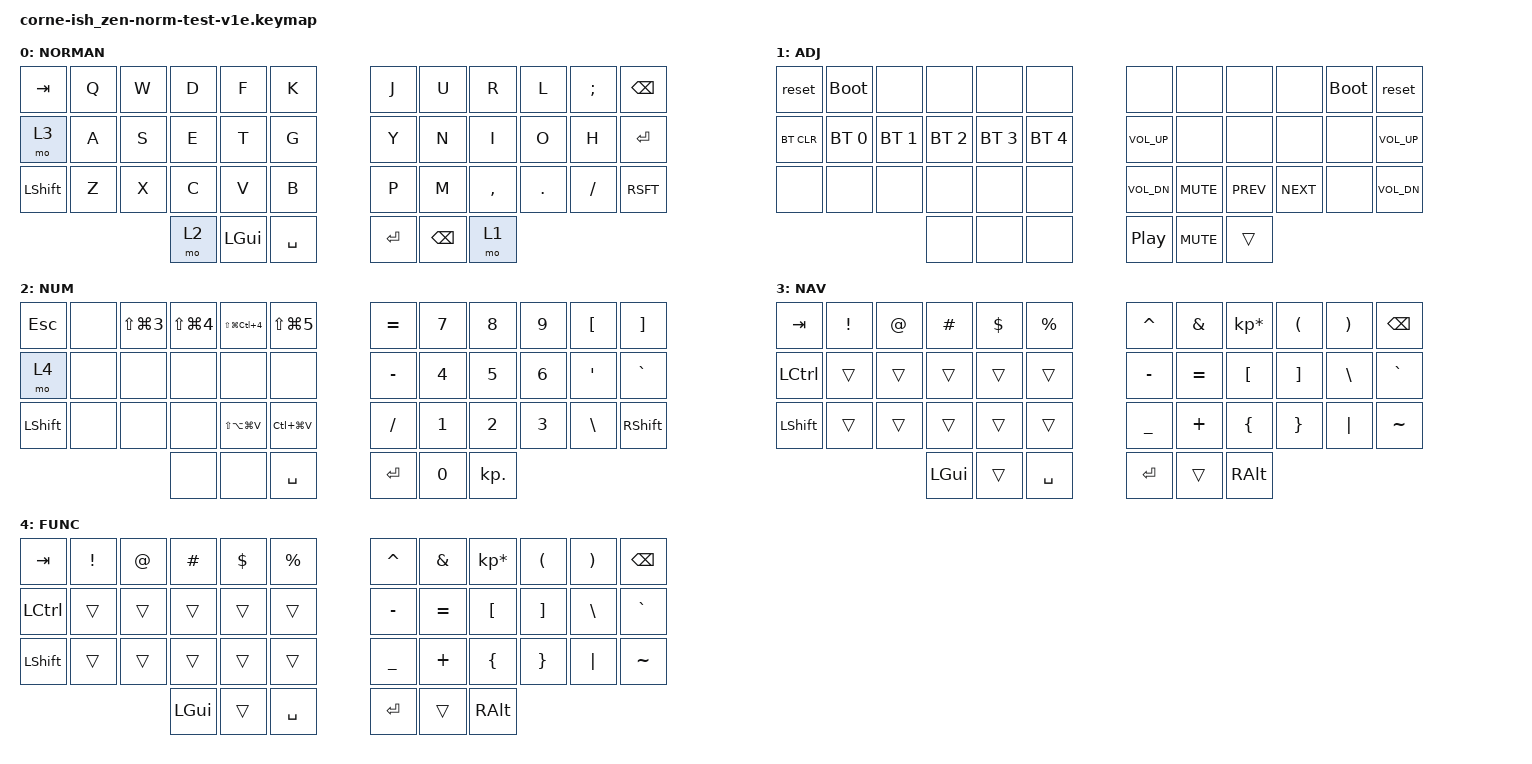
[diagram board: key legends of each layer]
/*
*
* Copyright (c) 2021 Darryl deHaan
* SPDX-License-Identifier: MIT
*
*/

#include <behaviors.dtsi>
#include <dt-bindings/zmk/keys.h>
#include <dt-bindings/zmk/bt.h>

&mt {
     tapping-term-ms = <400>;
 };
 
/ {
        keymap {
                compatible = "zmk,keymap";

                default_layer {
                        label = "NORMAN";
// -----------------------------------------------------------------------------------------
// |  TAB |  Q  |  W  |  D  |  F  |  K  |   |  J  |  U   |  R  |  L  |  ;  | BSPC |
// | MO-3 |  A  |  S  |  E  |  T  |  G  |   |  Y  |  N   |  I  |  O  |  H  |ENTER |
// | SHFT |  Z  |  X  |  C  |  V  |  B  |   |  P  |  M   |  ,  |  .  |  /  | RSFT |
//                    | GUI | LWR | SPC |   | ENT | BSPC | MO-1 |
                        bindings = <
   &kp TAB   &kp Q &kp W &kp D &kp F &kp K    &kp J &kp U &kp R    &kp L   &kp SEMI    &kp BSPC
   &mo 3     &kp A &kp S &kp E &kp T &kp G    &kp Y &kp N &kp I    &kp O   &kp H    &kp ENTER
   &kp LSHFT &kp Z &kp X &kp C &kp V &kp B    &kp P &kp M &kp CMMA &kp DOT &kp FSLH &kp RSFT
                   &mo 2 &kp LGUI &kp SPACE   &kp ENTER &kp BSPC &mo 1
                        >;
                };
                adj_layer {
                        label = "ADJ";
// -----------------------------------------------------------------------------------------
// | RESET|boot |     |     |     |     |   |     |     |     |     |     |boot |RESET
// | BTCLR| BT1 | BT2 | BT3 | BT4 | BT5 |   | Vol+|     |     |     |     |      |Vol+
// |      |     |     |     |     |     |   | Vol-| MUTE| PREV| NEXT|     |      |Vol-
//                    |     |     |     |   | Play| MUTE|     |
                        bindings = <
   &reset     &bootloader  &none        &none        &none        &none         &none        &none      &none      &none      &bootloader &reset
   &bt BT_CLR &bt BT_SEL 0 &bt BT_SEL 1 &bt BT_SEL 2 &bt BT_SEL 3 &bt BT_SEL 4  &kp C_VOL_UP &none      &none      &none      &none &kp C_VOL_UP
   &none      &none        &none        &none        &none        &none         &kp C_VOL_DN &kp K_MUTE &kp C_PREV &kp C_NEXT &none &kp C_VOL_DN
                          	        	&none     	 &none        &none      	&kp C_PP     &kp K_MUTE &trans
                        >;
                };

                num_layer {
                        label = "NUM";
// -----------------------------------------------------------------------------------------
// |  ESC |     |SG-3 |SG-4 |SGC4 |SG-5 |   |  =  |  7  |  8  |  9  |  [  | ]    |
// |MO-4  |     |     |     |     |     |   |  -  |  4  |  5  |  6  |  '  |  `   |
// | SHFT |     |     |     |SAG-V| CG-V|   |  /  |  1  |  2  |  3  |  \  |  SHFT|
//                    |     |     | SPC |   | ENT |  0  |  .   |
                        bindings = <
   &kp ESC   &none  &kp LS(LG(N3)) &kp LS(LG(N4)) &kp LS(LG(LC(N4))) &kp LS(LG(N5))     &kp EQUAL   &kp N7 &kp N8 &kp N9 &kp LBKT &kp RBKT
   &mo 4 	 &none 	&none 		   &none 		  &none 			 &none    			&kp MINUS 	&kp N4 &kp N5 &kp N6 &kp APOS  &kp GRAVE
   &kp LSHFT &none  &none    	   &none 		  &kp LS(LA(LG(V)))  &kp LC(LG(V)) 		&kp FSLH    &kp N1 &kp N2 &kp N3 &kp BSLH &kp RSHFT
              										&none &none 	 &kp SPACE    		&kp ENTER 	&kp N0 &kp KP_DOT
                        >;
                };
                
                nav_layer {
                        label = "NAV";
// -----------------------------------------------------------------------------------------
// |  TAB |  !  |  @  |  #  |  $  |  %  |   |  ^  |  &  |  *  |  (  |  )  | BKSP |
// | CTRL |     |     |     |     |     |   |  -  |  =  |  [  |  ]  |  \  |  `   |
// | SHFT |     |     |     |     |     |   |  _  |  +  |  {  |  }  | "|" |  ~   |
//                    | GUI |     | SPC |   | ENT |     | ALT |
                        bindings = <
   &kp  TAB  &kp EXCL &kp AT &kp HASH &kp DLLR &kp PRCNT   &kp CARET &kp AMPS  &kp KP_MULTIPLY &kp LPAR &kp RPAR &kp BSPC
   &kp LCTRL &trans   &trans &trans   &trans   &trans      &kp MINUS &kp EQUAL &kp LBKT        &kp RBKT &kp BSLH &kp GRAVE
   &kp LSHFT &trans   &trans &trans   &trans   &trans      &kp UNDER &kp PLUS  &kp LBRC        &kp RBRC &kp PIPE &kp TILDE
                    	     &kp LGUI &trans   &kp SPACE   &kp RET   &trans    &kp RALT
                        >;
                };
                
                func_layer {
                        label = "FUNC";
// -----------------------------------------------------------------------------------------
// |  TAB |  !  |  @  |  #  |  $  |  %  |   |  ^  |  &  |  *  |  (  |  )  | BKSP |
// | CTRL |     |     |     |     |     |   |  -  |  =  |  [  |  ]  |  \  |  `   |
// | SHFT |     |     |     |     |     |   |  _  |  +  |  {  |  }  | "|" |  ~   |
//                    | GUI |     | SPC |   | ENT |     | ALT |
                        bindings = <
   &kp  TAB  &kp EXCL &kp AT &kp HASH &kp DLLR &kp PRCNT   &kp CARET &kp AMPS  &kp KP_MULTIPLY &kp LPAR &kp RPAR &kp BSPC
   &kp LCTRL &trans   &trans &trans   &trans   &trans      &kp MINUS &kp EQUAL &kp LBKT        &kp RBKT &kp BSLH &kp GRAVE
   &kp LSHFT &trans   &trans &trans   &trans   &trans      &kp UNDER &kp PLUS  &kp LBRC        &kp RBRC &kp PIPE &kp TILDE
                    	     &kp LGUI &trans   &kp SPACE   &kp RET   &trans    &kp RALT
                        >;
                };
        };
};
